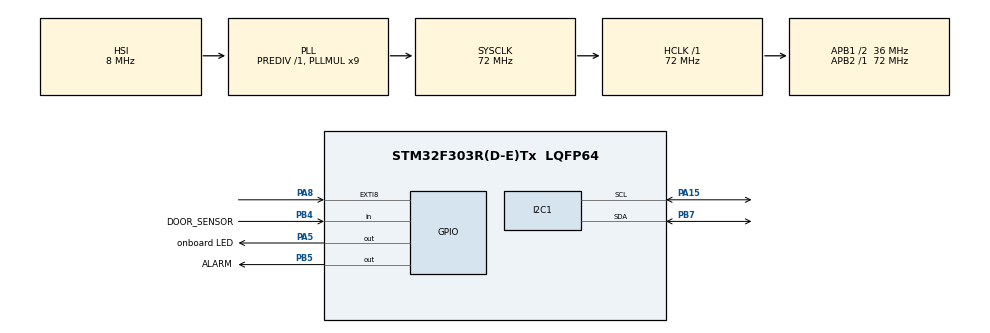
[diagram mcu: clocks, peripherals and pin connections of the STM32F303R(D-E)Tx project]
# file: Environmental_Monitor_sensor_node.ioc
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I2C1.Timing=0x00201D2B
Mcu.Family=STM32F3
Mcu.Name=STM32F303R(D-E)Tx
Mcu.Package=LQFP64
NVIC.EXTI9_5_IRQn=true\:0\:0\:false\:false\:true\:true\:true\:true
NVIC.PriorityGroup=NVIC_PRIORITYGROUP_0
PA13.Mode=Serial_Wire
PA13.Signal=SYS_JTMS-SWDIO
PA14.Mode=Serial_Wire
PA14.Signal=SYS_JTCK-SWCLK
PA15.Mode=I2C
PA15.Signal=I2C1_SCL
PA5.GPIO_Label=onboard LED
PA5.GPIO_PuPd=GPIO_NOPULL
PA5.Signal=GPIO_Output
PA8.GPIO_ModeDefaultEXTI=GPIO_MODE_IT_RISING_FALLING
PA8.GPIO_PuPd=GPIO_NOPULL
PA8.Signal=GPXTI8
PB4.GPIO_Label=DOOR_SENSOR
PB4.GPIO_PuPd=GPIO_PULLUP
PB4.Signal=GPIO_Input
PB5.GPIO_Label=ALARM
PB5.Signal=GPIO_Output
PB7.Mode=I2C
PB7.Signal=I2C1_SDA
ProjectManager.HeapSize=0x200
ProjectManager.StackSize=0x400
ProjectManager.TargetToolchain=STM32CubeIDE
RCC.AHBFreq_Value=72000000
RCC.APB1CLKDivider=RCC_HCLK_DIV2
RCC.APB1Freq_Value=36000000
RCC.APB1TimFreq_Value=72000000
RCC.APB2Freq_Value=72000000
RCC.APB2TimFreq_Value=72000000
RCC.CortexFreq_Value=72000000
RCC.HCLKFreq_Value=72000000
RCC.HSE_VALUE=8000000
RCC.HSI_VALUE=8000000
RCC.PLLM=8
RCC.PLLMUL=RCC_PLL_MUL9
RCC.PLLN=336
RCC.PLLP=RCC_PLLP_DIV4
RCC.PLLQ=7
RCC.RCC_PLLsource_Clock_Source_FROM_HSE=RCC_HSE_PREDIV_DIV2
RCC.SYSCLKFreq_VALUE=72000000
RCC.SYSCLKSourceVirtual=RCC_SYSCLKSOURCE_PLLCLK
RCC.USBFreq_Value=72000000
board=NUCLEO-F303RE

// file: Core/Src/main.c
/* USER CODE BEGIN Header */
/**
  ******************************************************************************
  * @file           : main.c
  * @brief          : Main program body
  ******************************************************************************
  * @attention
  *
  * Copyright (c) 2026 STMicroelectronics.
  * All rights reserved.
  *
  * This software is licensed under terms that can be found in the LICENSE file
  * in the root directory of this software component.
  * If no LICENSE file comes with this software, it is provided AS-IS.
  *
  ******************************************************************************
  */
/* USER CODE END Header */
#include "main.h"

/* USER CODE BEGIN Includes */
#include "bme280.h"
#include "pir.h"
#include "door.h"
#include "buzzer.h"
/* USER CODE END Includes */

I2C_HandleTypeDef hi2c1;

/* USER CODE BEGIN PV */
BME280_Data sensor_data;
/* USER CODE END PV */

void SystemClock_Config(void);
static void MX_GPIO_Init(void);
static void MX_I2C1_Init(void);

int main(void)
{

  /* MCU Configuration--------------------------------------------------------*/

  /* Reset of all peripherals, Initializes the Flash interface and the Systick. */
  HAL_Init();

  /* Configure the system clock */
  SystemClock_Config();

  /* Initialize all configured peripherals */
  MX_GPIO_Init();
  MX_I2C1_Init();
  /* USER CODE BEGIN 2 */
  // Pass the address of hi2c1 to the library
  BME280_Init(&hi2c1);
  /* USER CODE END 2 */

  /* Infinite loop */
  /* USER CODE BEGIN WHILE */
  while (1)
  {
	 // HAL_GPIO_WritePin(onboard_LED_GPIO_Port, onboard_LED_Pin, GPIO_PIN_SET);
	 // HAL_GPIO_WritePin(GPIOA, GPIO_PIN_5, GPIO_PIN_SET);
	 // HAL_Delay(500);
	  //HAL_GPIO_WritePin(onboard_LED_GPIO_Port, onboard_LED_Pin, GPIO_PIN_RESET);
	 // HAL_GPIO_WritePin(GPIOA, GPIO_PIN_5, GPIO_PIN_RESET);
	  //HAL_Delay(500);

    //BME280_ReadSensor(&sensor_data);

    // Your data is now in:
    // sensor_data.temperature_C
    // sensor_data.pressure_hPa
    // sensor_data.humidity_pct

    //HAL_Delay(1000); // Wait 1 second

    // 2. Check Door (PB4)
	  if (Door_GetStatus() == DOOR_OPEN)
	      {
	          // --- ALARM MODE ---
	          // Beep ON
	          Buzzer_On();
	          HAL_Delay(100);

	          // Beep OFF
	          Buzzer_Off();
	          HAL_Delay(100);

	          // (Optional: Also flash the LED if you want both)
	          HAL_GPIO_TogglePin(onboard_LED_GPIO_Port, onboard_LED_Pin);
	      }
	      else
	      {
	          // --- QUIET MODE ---
	          // Ensure buzzer is definitely OFF
	          Buzzer_Off();
	          HAL_GPIO_WritePin(onboard_LED_GPIO_Port, onboard_LED_Pin, GPIO_PIN_RESET);

	          // Sleep for a bit to save power
	          HAL_Delay(500);
	      }
    /* USER CODE END WHILE */

  }
}

void SystemClock_Config(void)
{
  RCC_OscInitTypeDef RCC_OscInitStruct = {0};
  RCC_ClkInitTypeDef RCC_ClkInitStruct = {0};
  RCC_PeriphCLKInitTypeDef PeriphClkInit = {0};

  /** Initializes the RCC Oscillators according to the specified parameters
  * in the RCC_OscInitTypeDef structure.
  */
  RCC_OscInitStruct.OscillatorType = RCC_OSCILLATORTYPE_HSI;
  RCC_OscInitStruct.HSIState = RCC_HSI_ON;
  RCC_OscInitStruct.HSICalibrationValue = RCC_HSICALIBRATION_DEFAULT;
  RCC_OscInitStruct.PLL.PLLState = RCC_PLL_ON;
  RCC_OscInitStruct.PLL.PLLSource = RCC_PLLSOURCE_HSI;
  RCC_OscInitStruct.PLL.PLLMUL = RCC_PLL_MUL9;
  RCC_OscInitStruct.PLL.PREDIV = RCC_PREDIV_DIV1;
  if (HAL_RCC_OscConfig(&RCC_OscInitStruct) != HAL_OK)
  {
    Error_Handler();
  }

  /** Initializes the CPU, AHB and APB buses clocks
  */
  RCC_ClkInitStruct.ClockType = RCC_CLOCKTYPE_HCLK|RCC_CLOCKTYPE_SYSCLK
                              |RCC_CLOCKTYPE_PCLK1|RCC_CLOCKTYPE_PCLK2;
  RCC_ClkInitStruct.SYSCLKSource = RCC_SYSCLKSOURCE_PLLCLK;
  RCC_ClkInitStruct.AHBCLKDivider = RCC_SYSCLK_DIV1;
  RCC_ClkInitStruct.APB1CLKDivider = RCC_HCLK_DIV2;
  RCC_ClkInitStruct.APB2CLKDivider = RCC_HCLK_DIV1;

  if (HAL_RCC_ClockConfig(&RCC_ClkInitStruct, FLASH_LATENCY_2) != HAL_OK)
  {
    Error_Handler();
  }
  PeriphClkInit.PeriphClockSelection = RCC_PERIPHCLK_I2C1;
  PeriphClkInit.I2c1ClockSelection = RCC_I2C1CLKSOURCE_HSI;
  if (HAL_RCCEx_PeriphCLKConfig(&PeriphClkInit) != HAL_OK)
  {
    Error_Handler();
  }
}

static void MX_I2C1_Init(void)
{

  hi2c1.Instance = I2C1;
  hi2c1.Init.Timing = 0x00201D2B;
  hi2c1.Init.OwnAddress1 = 0;
  hi2c1.Init.AddressingMode = I2C_ADDRESSINGMODE_7BIT;
  hi2c1.Init.DualAddressMode = I2C_DUALADDRESS_DISABLE;
  hi2c1.Init.OwnAddress2 = 0;
  hi2c1.Init.OwnAddress2Masks = I2C_OA2_NOMASK;
  hi2c1.Init.GeneralCallMode = I2C_GENERALCALL_DISABLE;
  hi2c1.Init.NoStretchMode = I2C_NOSTRETCH_DISABLE;
  if (HAL_I2C_Init(&hi2c1) != HAL_OK)
  {
    Error_Handler();
  }

  /** Configure Analogue filter
  */
  if (HAL_I2CEx_ConfigAnalogFilter(&hi2c1, I2C_ANALOGFILTER_ENABLE) != HAL_OK)
  {
    Error_Handler();
  }

  /** Configure Digital filter
  */
  if (HAL_I2CEx_ConfigDigitalFilter(&hi2c1, 0) != HAL_OK)
  {
    Error_Handler();
  }

}

static void MX_GPIO_Init(void)
{
  GPIO_InitTypeDef GPIO_InitStruct = {0};

  /* GPIO Ports Clock Enable */
  __HAL_RCC_GPIOA_CLK_ENABLE();
  __HAL_RCC_GPIOB_CLK_ENABLE();

  /*Configure GPIO pin Output Level */
  HAL_GPIO_WritePin(onboard_LED_GPIO_Port, onboard_LED_Pin, GPIO_PIN_RESET);

  /*Configure GPIO pin Output Level */
  HAL_GPIO_WritePin(ALARM_GPIO_Port, ALARM_Pin, GPIO_PIN_RESET);

  /*Configure GPIO pin : onboard_LED_Pin */
  GPIO_InitStruct.Pin = onboard_LED_Pin;
  GPIO_InitStruct.Mode = GPIO_MODE_OUTPUT_PP;
  GPIO_InitStruct.Pull = GPIO_NOPULL;
  GPIO_InitStruct.Speed = GPIO_SPEED_FREQ_LOW;
  HAL_GPIO_Init(onboard_LED_GPIO_Port, &GPIO_InitStruct);

  /*Configure GPIO pin : PA8 */
  GPIO_InitStruct.Pin = GPIO_PIN_8;
  GPIO_InitStruct.Mode = GPIO_MODE_IT_RISING_FALLING;
  GPIO_InitStruct.Pull = GPIO_NOPULL;
  HAL_GPIO_Init(GPIOA, &GPIO_InitStruct);

  /*Configure GPIO pin : DOOR_SENSOR_Pin */
  GPIO_InitStruct.Pin = DOOR_SENSOR_Pin;
  GPIO_InitStruct.Mode = GPIO_MODE_INPUT;
  GPIO_InitStruct.Pull = GPIO_PULLUP;
  HAL_GPIO_Init(DOOR_SENSOR_GPIO_Port, &GPIO_InitStruct);

  /*Configure GPIO pin : ALARM_Pin */
  GPIO_InitStruct.Pin = ALARM_Pin;
  GPIO_InitStruct.Mode = GPIO_MODE_OUTPUT_PP;
  GPIO_InitStruct.Pull = GPIO_NOPULL;
  GPIO_InitStruct.Speed = GPIO_SPEED_FREQ_LOW;
  HAL_GPIO_Init(ALARM_GPIO_Port, &GPIO_InitStruct);

  /* EXTI interrupt init*/
  HAL_NVIC_SetPriority(EXTI9_5_IRQn, 0, 0);
  HAL_NVIC_EnableIRQ(EXTI9_5_IRQn);

}

/* USER CODE BEGIN 4 */

// This function is AUTOMATICALLY called when an interrupt happens
void HAL_GPIO_EXTI_Callback(uint16_t GPIO_Pin)
{
    if (GPIO_Pin == PIR_PIN) // Verify it's the PIR pin (PA8) that triggered this
    {
        if (PIR_GetStatus() == PIR_MOTION_DETECTED)
        {
            // Motion Started -> Turn LED ON
            HAL_GPIO_WritePin(onboard_LED_GPIO_Port, onboard_LED_Pin, GPIO_PIN_SET);
        }
        else
        {
            // Motion Stopped -> Turn LED OFF
            HAL_GPIO_WritePin(onboard_LED_GPIO_Port, onboard_LED_Pin, GPIO_PIN_RESET);
        }
    }
}

/* USER CODE END 4 */

void Error_Handler(void)
{
  __disable_irq();
  while (1)
  {
  }
}
